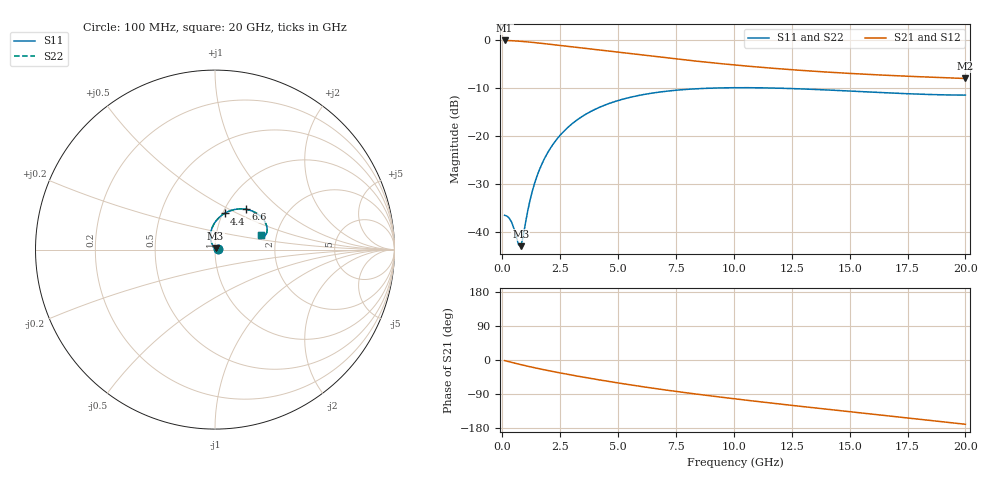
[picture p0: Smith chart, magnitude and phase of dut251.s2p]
! Touchstone file exported from HFSS 2024.1.0
!  File:  C:/UserFiles/LocalFiles/RDL_TSV_Batchsim/temp_RDL_TSV_251_1779456619.aedt
!  Generated:  09:44:09 PM May 22, 2026
!  Design:  RDL_TSV
!  Project:  temp_RDL_TSV_251_1779456619
!  Setup:  Setup1
!  Solution:  Sweep
! Variables:
!  dtsv = 14.25um
!  hbump = 3um
!  htsv = 52.26um
!  ldown = 536.31um
!  lrdl = 221.61um
!  p = 40
!  p1 = 49.35um
!  rhole = 10um
!  subl = 2495.37um
!  t = 450um
!  tdown = 3.05um
!  trdl = 4.09um
!  viad = 10um
!  wdown = 15.52um
!  wrdl = 27.12um
!  xbump = 18um
# GHz S MA R 50.000000
! Terminal data exported
! Port[1] = TM1_1_T1
! Port[2] = TM1_4_T1
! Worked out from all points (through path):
!   200 points, 100 MHz to 20 GHz, reference 50 ohm
!   highest |S21| = -0.14 dB at 100 MHz (marker M1); lowest = -8.0 dB at 20 GHz (marker M2)
!   group delay of S21, straight-line fit = 22.1 ps
!   lowest |S11| = -42.9 dB at 800 MHz (marker M3), VSWR 1.01, Z = 50.3 + j0.664 ohm
!   |S11| at or under -10 dB: start of sweep to 9.318 GHz; 11.49 GHz to end of sweep
!   |S22| runs from -42.9 to -9.9 dB; largest |S21 - S12| = 2.3e-14
!   S11 on the Smith chart (normalised r, x): 100 MHz: 1.03, +0.00; 4.4 GHz: 1.02, +0.43; 6.6 GHz: 1.25, +0.61; 20 GHz: 1.65, +0.29
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0.1  0.01505 2.4  0.9844 -1.6  0.9844 -1.6  0.01505 2.4
! Gamma 0 0 0 0
! Port Impedance 50 0 50 0
0.3  0.01406 5.6  0.9809 -4.7  0.9809 -4.7  0.01406 5.6
0.4  0.01278 7.7  0.9784 -6.3  0.9784 -6.3  0.01278 7.7
0.7  0.007463 39.0  0.9685 -10.7  0.9685 -10.7  0.007463 39.1
0.8  0.007196 66.6  0.9644 -12.2  0.9644 -12.2  0.007202 66.7
0.9  0.009032 91.5  0.9601 -13.6  0.9601 -13.6  0.009045 91.6
1.1  0.01681 113.1  0.9506 -16.5  0.9506 -16.5  0.01683 113.1
1.3  0.02702 117.8  0.9403 -19.2  0.9403 -19.2  0.02705 117.8
1.5  0.03847 117.6  0.9295 -21.8  0.9295 -21.8  0.03851 117.6
1.8  0.05698 114.1  0.9128 -25.7  0.9128 -25.7  0.05701 114.1
2.1  0.07626 109.4  0.8959 -29.4  0.8959 -29.4  0.0763 109.4
2.5  0.1021 102.8  0.8736 -34.1  0.8736 -34.1  0.1022 102.8
3.5  0.1627 87.2  0.8196 -45.3  0.8196 -45.3  0.1628 87.2
4.4  0.2086 75.2  0.7733 -54.6  0.7733 -54.6  0.2086 75.2
5.4  0.2486 63.9  0.7243 -64.4  0.7243 -64.4  0.2487 63.9
6.6  0.2825 52.7  0.67 -75.2  0.67 -75.2  0.2826 52.7
6.8  0.2868 51.0  0.6615 -77.0  0.6615 -77.0  0.2869 51.0
8.4  0.3102 39.5  0.5996 -90.1  0.5996 -90.1  0.3103 39.5
10.1  0.3182 30.3  0.546 -102.9  0.546 -102.9  0.3184 30.3
13.4  0.3059 19.0  0.4725 -125.8  0.4725 -125.8  0.3063 18.9
16.7  0.2808 15.2  0.4268 -147.6  0.4268 -147.6  0.2812 15.1
20  0.2664 17.8  0.3966 -169.6  0.3966 -169.6  0.2668 17.7
